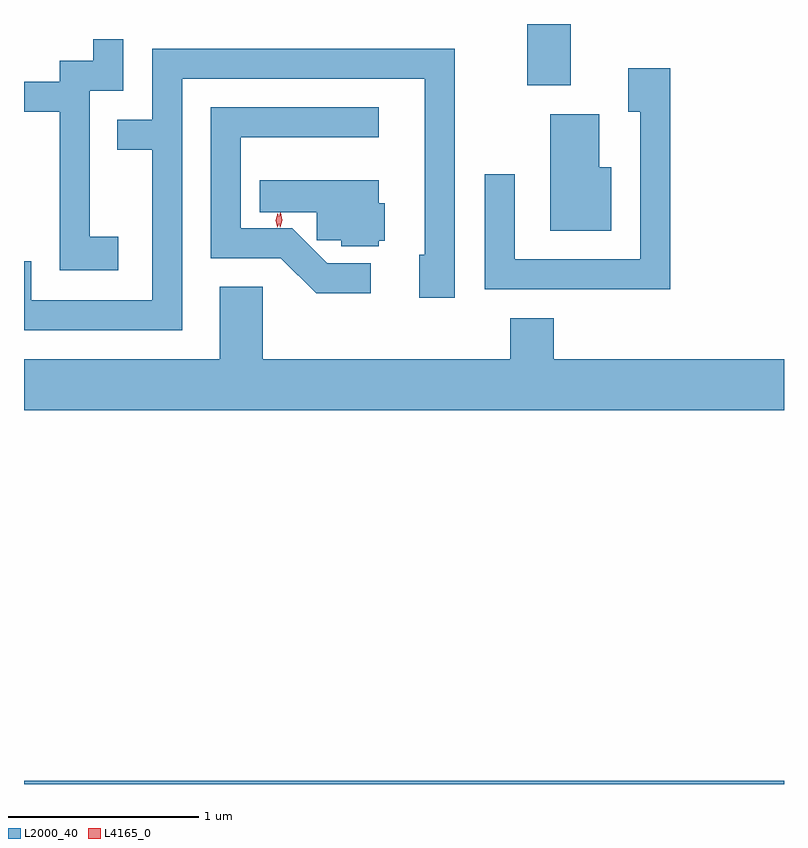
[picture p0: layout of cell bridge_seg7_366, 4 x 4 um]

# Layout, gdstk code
import gdstk
lib = gdstk.Library(unit=1e-6, precision=1e-09)
def R(c, l, rs):  # rectangles x0, y0, x1, y1
    for r in rs: c.add(gdstk.rectangle(r[:2], r[2:], *l))
def P(c, l, *ps):  # polygons
    for p in ps: c.add(gdstk.Polygon(p, *l))
L2000_40 = (2000, 40)
L4165_0 = (4165, 0)

bridge_seg7_366 = lib.new_cell('bridge_seg7_366')
R(bridge_seg7_366, L2000_40, [(1104.172,1745.648,1108.172,1745.664), (1106.821,1749.326,1107.049,1749.648)])
P(bridge_seg7_366, L2000_40, [(1104.669,1748.529),(1104.519,1748.529),(1104.519,1749.296),(1104.694,1749.296),(1104.694,1749.568),(1104.536,1749.568),(1104.536,1749.454),(1104.361,1749.454),(1104.361,1749.344),(1104.172,1749.344),(1104.172,1749.186),(1104.361,1749.186),(1104.361,1748.351),(1104.669,1748.351)],
  [(1105.004,1749.361),(1106.281,1749.361),(1106.281,1748.434),(1106.251,1748.434),(1106.251,1748.206),(1106.439,1748.206),(1106.439,1749.519),(1104.846,1749.519),(1104.846,1749.144),(1104.663,1749.144),(1104.663,1748.986),(1104.846,1748.986),(1104.846,1748.194),(1104.209,1748.194),(1104.209,1748.399),(1104.172,1748.399),(1104.172,1748.036),(1105.004,1748.036)],
  [(1107.574,1749.414),(1107.351,1749.414),(1107.351,1749.186),(1107.416,1749.186),(1107.416,1748.409),(1106.754,1748.409),(1106.754,1748.858),(1106.596,1748.858),(1106.596,1748.251),(1107.574,1748.251)],
  [(1105.998,1748.389),(1105.768,1748.389),(1105.583,1748.574),(1105.314,1748.574),(1105.314,1749.051),(1106.038,1749.051),(1106.038,1749.209),(1105.156,1749.209),(1105.156,1748.416),(1105.524,1748.416),(1105.709,1748.231),(1105.998,1748.231)],
  [(1107.264,1748.894),(1107.199,1748.894),(1107.199,1749.174),(1106.941,1749.174),(1106.941,1748.561),(1107.264,1748.561)],
  [(1106.04,1748.507),(1106.07,1748.507),(1106.07,1748.705),(1106.04,1748.705),(1106.04,1748.825),(1105.414,1748.825),(1105.414,1748.657),(1105.714,1748.657),(1105.714,1748.511),(1105.843,1748.511),(1105.843,1748.477),(1106.04,1748.477)],
  [(1108.172,1747.884),(1106.959,1747.884),(1106.959,1748.099),(1106.731,1748.099),(1106.731,1747.884),(1105.429,1747.884),(1105.429,1748.264),(1105.201,1748.264),(1105.201,1747.884),(1104.172,1747.884),(1104.172,1747.616),(1108.172,1747.616)])
P(bridge_seg7_366, L4165_0, [(1105.521,1748.577),(1105.52,1748.578),(1105.511,1748.616),(1105.521,1748.655),(1105.522,1748.655),(1105.522,1748.655),(1105.531,1748.616),(1105.521,1748.578)],
  [(1105.506,1748.579),(1105.506,1748.58),(1105.497,1748.616),(1105.507,1748.652),(1105.508,1748.653),(1105.508,1748.652),(1105.517,1748.616),(1105.507,1748.58)])

lib.write_gds('bridge_seg7_366.gds')
